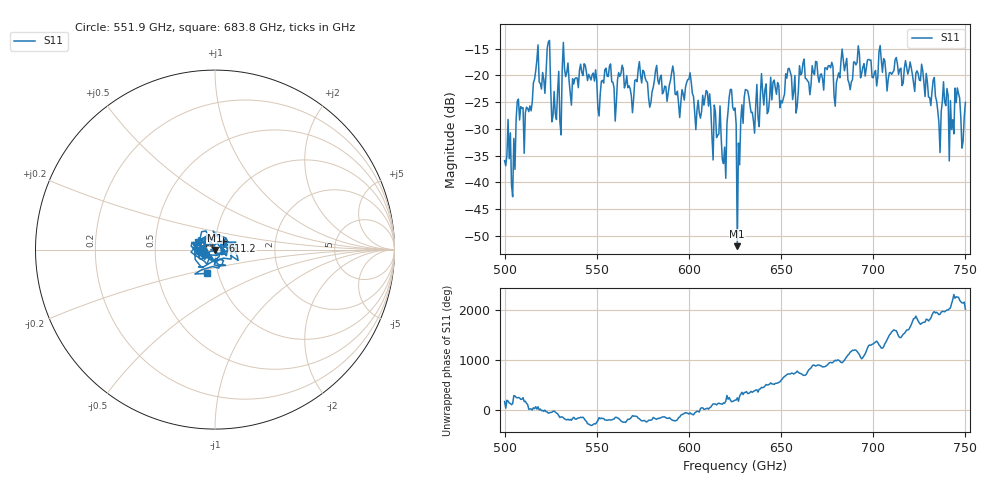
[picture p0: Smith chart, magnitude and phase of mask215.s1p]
!Created with skrf (http://scikit-rf.org).
# GHz S MA R 50.0
!freq magS11 angS11
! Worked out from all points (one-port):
!   401 points, 500 GHz to 750 GHz, reference 50 ohm
!   lowest |S11| = -51.9 dB at 626.2 GHz (marker M1), VSWR 1.01, Z = 49.9 - j0.228 ohm
!   |S11| at or under -10 dB: start of sweep to end of sweep
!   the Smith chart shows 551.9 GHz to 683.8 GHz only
!   S11 on the Smith chart (normalised r, x): 551.9 GHz: 0.88, -0.01; 611.2 GHz: 1.09, +0.11; 683.8 GHz: 0.89, -0.24
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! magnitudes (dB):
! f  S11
! 500 GHz  -35.9
! 505 GHz  -31.8
! 507.5 GHz  -24.4
! 511.9 GHz  -25.9
! 516.9 GHz  -19.2
! 523.8 GHz  -13.7
! 526.9 GHz  -23.0
! 531.2 GHz  -18.8
! 542.5 GHz  -20.0
! 551.9 GHz  -23.5
! 562.5 GHz  -20.2
! 593.8 GHz  -23.0
! 600 GHz  -20.7
! 611.2 GHz  -23.5
! 618.8 GHz  -36.5
! 623.1 GHz  -22.7
! 625 GHz  -26.1
! 626.2 GHz  -51.9
! 631.2 GHz  -22.7
! 635 GHz  -28.5
! 656.2 GHz  -24.5
! 683.8 GHz  -17.1
! 687.5 GHz  -22.7
! 718.8 GHz  -19.8
! 735.6 GHz  -28.8
! 739.4 GHz  -25.7
! 742.5 GHz  -30.1
! 750 GHz  -25.0
